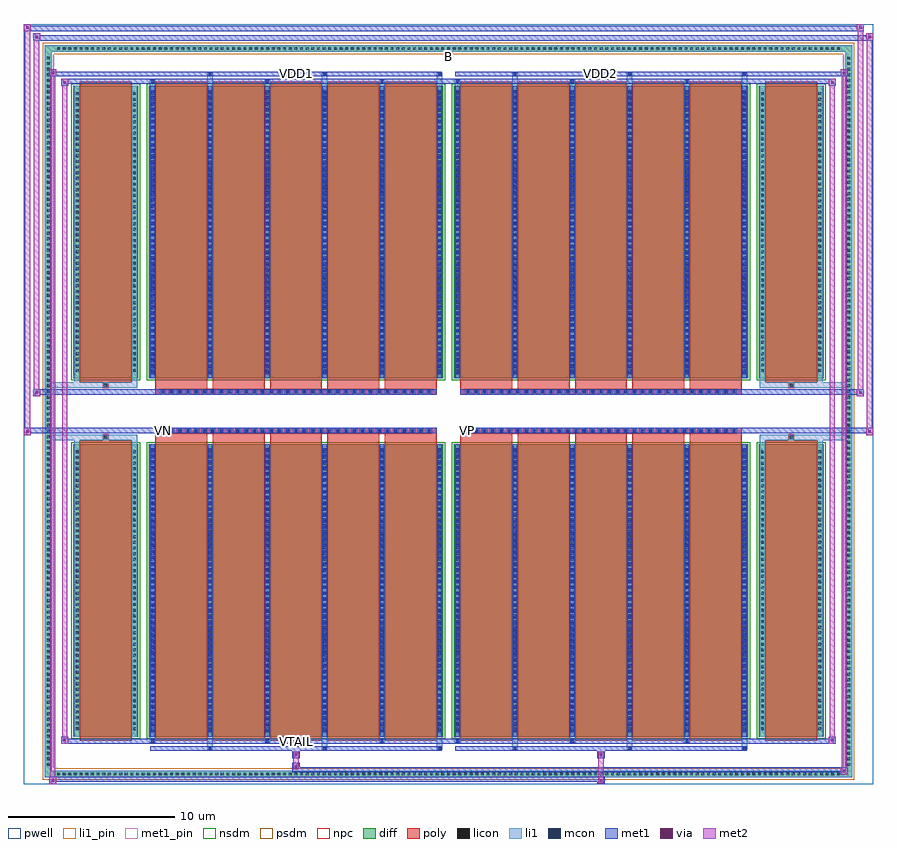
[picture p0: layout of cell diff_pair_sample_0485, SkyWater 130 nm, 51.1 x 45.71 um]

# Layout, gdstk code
import gdstk
lib = gdstk.Library(unit=1e-6, precision=5e-09)
def R(c, l, rs):  # rectangles x0, y0, x1, y1
    for r in rs: c.add(gdstk.rectangle(r[:2], r[2:], *l))
def A(c, l, x, y, w, h, nx, ny, dx, dy):  # array of equal rectangles
    R(c, l, [(x+i*dx, y+j*dy, x+i*dx+w, y+j*dy+h) for i in range(nx) for j in range(ny)])
def P(c, l, *ps):  # polygons
    for p in ps: c.add(gdstk.Polygon(p, *l))
pwell = (64, 44)
diff = (65, 20)
poly = (66, 20)
licon = (66, 44)
li1_pin = (67, 16)
li1 = (67, 20)
mcon = (67, 44)
met1_pin = (68, 16)
met1 = (68, 20)
via = (68, 44)
met2 = (69, 20)
nsdm = (93, 44)
psdm = (94, 20)
npc = (95, 20)

diff_pair_sample_0485 = lib.new_cell('diff_pair_sample_0485')
R(diff_pair_sample_0485, pwell, [(-25.55,-22.42,25.55,23.29), (-22.87,-20.61,-0.01,-0.805), (0.01,-20.61,22.87,-0.805), (-22.87,0.805,-0.01,20.61), (0.01,0.805,22.87,20.61)])
A(diff_pair_sample_0485, diff, -23.665, -22.02, 0.41, 0.41, 139, 2, 0.34, 43.63)
A(diff_pair_sample_0485, diff, -24.28, -21.455, 0.41, 0.41, 1, 126, 0, 0.34)
A(diff_pair_sample_0485, diff, 23.87, -21.455, 0.41, 0.41, 1, 126, 0, 0.34)
R(diff_pair_sample_0485, diff, [(-23.665,-22.02,23.665,-21.61), (-24.28,-21.455,-23.87,21.455), (23.87,-21.455,24.28,21.455), (-22.56,-19.565,-18.66,-1.985), (-18.02,-19.565,-0.32,-1.985), (0.32,-19.565,18.02,-1.985), (18.66,-19.565,22.56,-1.985), (-22.56,1.985,-18.66,19.565), (-18.02,1.985,-0.32,19.565), (0.32,1.985,18.02,19.565), (18.66,1.985,22.56,19.565), (-23.665,21.61,23.665,22.02)])
P(diff_pair_sample_0485, diff, [(24.28,22.02),(-24.28,22.02),(-24.28,-21.61),(-23.87,-21.61),(-23.87,21.61),(23.87,21.61),(23.87,-21.61),(-23.87,-21.61),(-24.28,-21.61),(-24.28,-22.02),(24.28,-22.02)])
A(diff_pair_sample_0485, poly, -17.63, -19.815, 3.12, 18.08, 5, 2, 3.45, 21.55)
A(diff_pair_sample_0485, poly, 0.71, -19.815, 3.12, 18.08, 5, 2, 3.45, 21.55)
A(diff_pair_sample_0485, poly, -17.63, -1.735, 3.12, 0.4, 5, 2, 3.45, 3.07)
A(diff_pair_sample_0485, poly, 0.71, -1.735, 3.12, 0.4, 5, 2, 3.45, 3.07)
A(diff_pair_sample_0485, poly, -17.335, -1.335, 0.33, 0.33, 33, 2, 0.5, 2.34)
A(diff_pair_sample_0485, poly, 1.005, -1.335, 0.33, 0.33, 33, 2, 0.5, 2.34)
R(diff_pair_sample_0485, poly, [(-22.17,-19.815,-19.05,-1.735), (19.05,-19.815,22.17,-1.735), (-20.775,-1.735,-20.445,-1.405), (-20.775,-1.735,-20.445,-1.405), (20.445,-1.735,20.775,-1.405), (20.445,-1.735,20.775,-1.405), (-17.63,-1.335,-0.71,-1.005), (0.71,-1.335,17.63,-1.005), (-17.63,1.005,-0.71,1.335), (0.71,1.005,17.63,1.335), (-20.775,1.405,-20.445,1.735), (-20.775,1.405,-20.445,1.735), (20.445,1.405,20.775,1.735), (20.445,1.405,20.775,1.735), (-22.17,1.735,-19.05,19.815), (19.05,1.735,22.17,19.815)])
A(diff_pair_sample_0485, licon, -23.545, -21.9, 0.17, 0.17, 139, 2, 0.34, 43.63)
A(diff_pair_sample_0485, licon, -24.16, -21.335, 0.17, 0.17, 1, 126, 0, 0.34)
A(diff_pair_sample_0485, licon, 23.99, -21.335, 0.17, 0.17, 1, 126, 0, 0.34)
A(diff_pair_sample_0485, licon, -22.42, -19.19, 0.17, 0.17, 1, 50, 0, 0.34)
A(diff_pair_sample_0485, licon, -18.97, -19.19, 0.17, 0.17, 1, 50, 0, 0.34)
A(diff_pair_sample_0485, licon, -17.88, -19.19, 0.17, 0.17, 6, 50, 3.45, 0.34)
A(diff_pair_sample_0485, licon, 0.46, -19.19, 0.17, 0.17, 6, 50, 3.45, 0.34)
A(diff_pair_sample_0485, licon, 18.8, -19.19, 0.17, 0.17, 1, 50, 0, 0.34)
A(diff_pair_sample_0485, licon, 22.25, -19.19, 0.17, 0.17, 1, 50, 0, 0.34)
A(diff_pair_sample_0485, licon, -17.255, -1.255, 0.17, 0.17, 33, 2, 0.5, 2.34)
A(diff_pair_sample_0485, licon, 1.085, -1.255, 0.17, 0.17, 33, 2, 0.5, 2.34)
A(diff_pair_sample_0485, licon, -22.42, 2.36, 0.17, 0.17, 1, 50, 0, 0.34)
A(diff_pair_sample_0485, licon, -18.97, 2.36, 0.17, 0.17, 1, 50, 0, 0.34)
A(diff_pair_sample_0485, licon, -17.88, 2.36, 0.17, 0.17, 6, 50, 3.45, 0.34)
A(diff_pair_sample_0485, licon, 0.46, 2.36, 0.17, 0.17, 6, 50, 3.45, 0.34)
A(diff_pair_sample_0485, licon, 18.8, 2.36, 0.17, 0.17, 1, 50, 0, 0.34)
A(diff_pair_sample_0485, licon, 22.25, 2.36, 0.17, 0.17, 1, 50, 0, 0.34)
R(diff_pair_sample_0485, licon, [(-20.695,-1.655,-20.525,-1.485), (20.525,-1.655,20.695,-1.485), (-20.695,1.485,-20.525,1.655), (20.525,1.485,20.695,1.655)])
R(diff_pair_sample_0485, li1_pin, [(-0.25,21.11,0.25,21.61)])
A(diff_pair_sample_0485, li1, -23.625, -21.98, 0.33, 0.33, 139, 2, 0.34, 43.63)
A(diff_pair_sample_0485, li1, -24.24, -21.415, 0.33, 0.33, 1, 126, 0, 0.34)
A(diff_pair_sample_0485, li1, 23.91, -21.415, 0.33, 0.33, 1, 126, 0, 0.34)
A(diff_pair_sample_0485, li1, -14.51, -20.37, 0.33, 0.805, 3, 2, 6.9, 39.935)
A(diff_pair_sample_0485, li1, -14.43, -20.37, 0.17, 0.17, 3, 2, 6.9, 40.57)
A(diff_pair_sample_0485, li1, 3.83, -20.37, 0.33, 0.805, 3, 2, 6.9, 39.935)
A(diff_pair_sample_0485, li1, 3.91, -20.37, 0.17, 0.17, 3, 2, 6.9, 40.57)
A(diff_pair_sample_0485, li1, -17.96, -19.94, 0.33, 0.375, 3, 2, 6.9, 39.505)
A(diff_pair_sample_0485, li1, -17.88, -19.94, 0.17, 0.17, 3, 2, 6.9, 39.71)
A(diff_pair_sample_0485, li1, 0.38, -19.94, 0.33, 0.375, 3, 2, 6.9, 39.505)
A(diff_pair_sample_0485, li1, 0.46, -19.94, 0.17, 0.17, 3, 2, 6.9, 39.71)
A(diff_pair_sample_0485, li1, -17.96, -19.565, 0.33, 17.58, 6, 2, 3.45, 21.55)
A(diff_pair_sample_0485, li1, 0.38, -19.565, 0.33, 17.58, 6, 2, 3.45, 21.55)
A(diff_pair_sample_0485, li1, -17.88, -19.32, 0.17, 0.17, 6, 48, 3.45, 0.36)
A(diff_pair_sample_0485, li1, -17.88, -19.32, 0.17, 17.09, 6, 2, 3.45, 21.55)
A(diff_pair_sample_0485, li1, 0.46, -19.32, 0.17, 0.17, 6, 48, 3.45, 0.36)
A(diff_pair_sample_0485, li1, 0.46, -19.32, 0.17, 17.09, 6, 2, 3.45, 21.55)
A(diff_pair_sample_0485, li1, -22.5, -19.27, 0.33, 0.33, 1, 50, 0, 0.34)
A(diff_pair_sample_0485, li1, -19.05, -19.27, 0.33, 0.33, 1, 50, 0, 0.34)
A(diff_pair_sample_0485, li1, -17.96, -19.27, 0.33, 0.33, 6, 50, 3.45, 0.34)
A(diff_pair_sample_0485, li1, 0.38, -19.27, 0.33, 0.33, 6, 50, 3.45, 0.34)
A(diff_pair_sample_0485, li1, 18.72, -19.27, 0.33, 0.33, 1, 50, 0, 0.34)
A(diff_pair_sample_0485, li1, 22.17, -19.27, 0.33, 0.33, 1, 50, 0, 0.34)
A(diff_pair_sample_0485, li1, -17.335, -1.335, 0.33, 0.33, 33, 2, 0.5, 2.34)
A(diff_pair_sample_0485, li1, 1.005, -1.335, 0.33, 0.33, 33, 2, 0.5, 2.34)
A(diff_pair_sample_0485, li1, -17.88, 2.23, 0.17, 0.17, 6, 48, 3.45, 0.36)
A(diff_pair_sample_0485, li1, 0.46, 2.23, 0.17, 0.17, 6, 48, 3.45, 0.36)
A(diff_pair_sample_0485, li1, -22.5, 2.28, 0.33, 0.33, 1, 50, 0, 0.34)
A(diff_pair_sample_0485, li1, -19.05, 2.28, 0.33, 0.33, 1, 50, 0, 0.34)
A(diff_pair_sample_0485, li1, -17.96, 2.28, 0.33, 0.33, 6, 50, 3.45, 0.34)
A(diff_pair_sample_0485, li1, 0.38, 2.28, 0.33, 0.33, 6, 50, 3.45, 0.34)
A(diff_pair_sample_0485, li1, 18.72, 2.28, 0.33, 0.33, 1, 50, 0, 0.34)
A(diff_pair_sample_0485, li1, 22.17, 2.28, 0.33, 0.33, 1, 50, 0, 0.34)
R(diff_pair_sample_0485, li1, [(-24.28,-22.02,-23.87,-21.61), (-24.28,-22.02,-23.87,-21.61), (-23.87,-22.02,23.87,-21.61), (23.87,-22.02,24.28,-21.61), (23.87,-22.02,24.28,-21.61), (-24.28,-21.61,-23.87,21.61), (23.87,-21.61,24.28,21.61), (-22.5,-19.565,-22.17,-1.985), (-19.05,-19.565,-18.72,-1.985), (18.72,-19.565,19.05,-1.985), (22.17,-19.565,22.5,-1.985), (-22.5,-1.985,-22.17,-1.405), (-19.05,-1.985,-18.72,-1.405), (18.72,-1.985,19.05,-1.405), (22.17,-1.985,22.5,-1.405), (-24.28,-1.735,-20.775,-1.405), (-22.5,-1.735,-20.775,-1.405), (-20.775,-1.735,-20.445,-1.405), (-20.445,-1.735,-18.72,-1.405), (18.72,-1.735,20.445,-1.405), (20.445,-1.735,20.775,-1.405), (20.445,-1.735,24.28,-1.405), (20.775,-1.735,22.5,-1.405), (-24.28,1.405,-20.775,1.735), (-22.5,1.405,-20.775,1.735), (-22.5,1.405,-22.17,1.985), (-20.775,1.405,-20.445,1.735), (-20.445,1.405,-18.72,1.735), (-19.05,1.405,-18.72,1.985), (18.72,1.405,20.445,1.735), (18.72,1.405,19.05,1.985), (20.445,1.405,20.775,1.735), (20.445,1.405,24.28,1.735), (20.775,1.405,22.5,1.735), (22.17,1.405,22.5,1.985), (-22.5,1.985,-22.17,19.565), (-19.05,1.985,-18.72,19.565), (18.72,1.985,19.05,19.565), (22.17,1.985,22.5,19.565), (-24.28,21.61,-23.87,22.02), (-24.28,21.61,-23.87,22.02), (-23.87,21.61,23.87,22.02), (23.87,21.61,24.28,22.02), (23.87,21.61,24.28,22.02)])
A(diff_pair_sample_0485, mcon, -14.43, -20.37, 0.17, 0.17, 3, 2, 6.9, 40.57)
A(diff_pair_sample_0485, mcon, 3.91, -20.37, 0.17, 0.17, 3, 2, 6.9, 40.57)
A(diff_pair_sample_0485, mcon, -17.88, -19.94, 0.17, 0.17, 3, 2, 6.9, 39.71)
A(diff_pair_sample_0485, mcon, 0.46, -19.94, 0.17, 0.17, 3, 2, 6.9, 39.71)
A(diff_pair_sample_0485, mcon, -17.88, -19.32, 0.17, 0.17, 6, 48, 3.45, 0.36)
A(diff_pair_sample_0485, mcon, 0.46, -19.32, 0.17, 0.17, 6, 48, 3.45, 0.36)
A(diff_pair_sample_0485, mcon, -17.255, -1.255, 0.17, 0.17, 33, 2, 0.5, 2.34)
A(diff_pair_sample_0485, mcon, 1.085, -1.255, 0.17, 0.17, 33, 2, 0.5, 2.34)
A(diff_pair_sample_0485, mcon, -17.88, 2.23, 0.17, 0.17, 6, 48, 3.45, 0.36)
A(diff_pair_sample_0485, mcon, 0.46, 2.23, 0.17, 0.17, 6, 48, 3.45, 0.36)
R(diff_pair_sample_0485, met1_pin, [(-9.305,-19.98,-9.035,-19.71), (-17.305,-1.295,-17.035,-1.025), (1.035,-1.295,1.305,-1.025), (-9.305,20.16,-9.035,20.43), (9.035,20.16,9.305,20.43)])
A(diff_pair_sample_0485, met1, -14.49, -20.43, 0.29, 0.29, 3, 2, 6.9, 40.57)
A(diff_pair_sample_0485, met1, 3.85, -20.43, 0.29, 0.29, 3, 2, 6.9, 40.57)
A(diff_pair_sample_0485, met1, -17.94, -20, 0.29, 0.29, 3, 2, 6.9, 39.71)
A(diff_pair_sample_0485, met1, 0.4, -20, 0.29, 0.29, 3, 2, 6.9, 39.71)
A(diff_pair_sample_0485, met1, -17.94, -19.565, 0.29, 17.58, 6, 2, 3.45, 21.55)
A(diff_pair_sample_0485, met1, 0.4, -19.565, 0.29, 17.58, 6, 2, 3.45, 21.55)
A(diff_pair_sample_0485, met1, -17.94, -19.38, 0.29, 0.29, 6, 48, 3.45, 0.36)
A(diff_pair_sample_0485, met1, 0.4, -19.38, 0.29, 0.29, 6, 48, 3.45, 0.36)
A(diff_pair_sample_0485, met1, -17.315, -1.315, 0.29, 0.29, 33, 2, 0.5, 2.34)
A(diff_pair_sample_0485, met1, 1.025, -1.315, 0.29, 0.29, 33, 2, 0.5, 2.34)
A(diff_pair_sample_0485, met1, -17.94, 2.17, 0.29, 0.29, 6, 48, 3.45, 0.36)
A(diff_pair_sample_0485, met1, 0.4, 2.17, 0.29, 0.29, 6, 48, 3.45, 0.36)
R(diff_pair_sample_0485, met1, [(-24.01,-22.42,-23.58,-21.99), (8.955,-22.42,9.385,-21.99), (-24.01,-22.28,9.385,-21.99), (23.58,-21.85,24.01,-21.42), (-9.385,-21.71,24.01,-21.42), (-9.385,-21.57,-8.955,-21.14), (-9.385,-20.86,-8.955,-20.43), (8.955,-20.86,9.385,-20.43), (-17.94,-20.43,-0.4,-20.14), (0.4,-20.43,17.94,-20.14), (-23.3,-20,-22.87,-19.57), (-23.3,-20,-17.94,-19.71), (-17.94,-20,-0.4,-19.71), (-0.4,-20,0.4,-19.71), (0.4,-20,17.94,-19.71), (17.94,-20,23.3,-19.71), (22.87,-20,23.3,-19.57), (-25.55,-1.435,-25.12,-1.005), (25.12,-1.435,25.55,-1.005), (-25.55,-1.335,-0.71,-1.005), (-17.63,-1.335,-0.71,-1.005), (0.71,-1.335,17.63,-1.005), (0.71,-1.335,25.55,-1.005), (-24.98,0.905,-24.55,1.335), (24.55,0.905,24.98,1.335), (-24.98,1.005,-17.63,1.335), (-17.63,1.005,-0.71,1.335), (0.71,1.005,17.63,1.335), (17.63,1.005,24.98,1.335), (-23.3,19.57,-22.87,20), (22.87,19.57,23.3,20), (-23.3,19.71,-17.94,20), (-17.94,19.71,-0.4,20), (-0.4,19.71,0.4,20), (0.4,19.71,17.94,20), (17.94,19.71,23.3,20), (-24.01,20.14,-23.58,20.57), (-24.01,20.14,-17.94,20.43), (-17.94,20.14,-0.4,20.43), (0.4,20.14,17.94,20.43), (17.94,20.14,24.01,20.43), (23.58,20.14,24.01,20.57), (-24.98,22.29,-24.55,22.72), (-24.98,22.29,-22.87,22.62), (-22.87,22.29,22.87,22.62), (22.87,22.29,25.55,22.62), (25.12,22.29,25.55,22.72), (-25.55,22.86,-25.12,23.29), (-25.55,22.86,-22.87,23.19), (-22.87,22.86,22.87,23.19), (22.87,22.86,24.98,23.19), (24.55,22.86,24.98,23.29)])
R(diff_pair_sample_0485, via, [(-23.87,-22.28,-23.72,-22.13), (9.095,-22.28,9.245,-22.13), (23.72,-21.71,23.87,-21.56), (-9.245,-21.43,-9.095,-21.28), (-9.245,-20.72,-9.095,-20.57), (9.095,-20.72,9.245,-20.57), (-23.16,-19.86,-23.01,-19.71), (23.01,-19.86,23.16,-19.71), (-25.41,-1.295,-25.26,-1.145), (25.26,-1.295,25.41,-1.145), (-24.84,1.045,-24.69,1.195), (24.69,1.045,24.84,1.195), (-23.16,19.71,-23.01,19.86), (23.01,19.71,23.16,19.86), (-23.87,20.28,-23.72,20.43), (23.72,20.28,23.87,20.43), (-24.84,22.43,-24.69,22.58), (25.26,22.43,25.41,22.58), (-25.41,23,-25.26,23.15), (24.69,23,24.84,23.15)])
R(diff_pair_sample_0485, met2, [(-24.01,-22.42,-23.58,-21.99), (-23.94,-22.42,-23.65,20.57), (-23.65,-22.42,-23.58,-21.99), (-23.96,-22.37,-23.63,-22.04), (9.005,-22.37,9.335,-22.04), (9.005,-22.04,9.335,-20.81), (23.58,-21.85,24.01,-21.42), (23.65,-21.85,23.94,20.57), (23.94,-21.85,24.01,-21.42), (23.63,-21.8,23.96,-21.47), (-9.335,-21.52,-9.005,-21.19), (-9.335,-21.19,-9.005,-20.81), (-9.335,-20.81,-9.005,-20.48), (9.005,-20.81,9.335,-20.48), (-23.3,-20,-22.87,-19.57), (-23.23,-20,-22.94,20), (-22.94,-20,-22.87,-19.57), (22.87,-20,23.3,-19.57), (22.94,-20,23.23,20), (23.23,-20,23.3,-19.57), (-23.25,-19.95,-22.92,-19.62), (22.92,-19.95,23.25,-19.62), (-25.55,-1.435,-25.12,-1.005), (-25.5,-1.435,-25.17,23.29), (-25.17,-1.435,-25.12,-1.005), (25.12,-1.435,25.55,-1.005), (25.17,-1.435,25.5,22.72), (25.5,-1.435,25.55,-1.005), (-25.5,-1.385,-25.17,-1.055), (25.17,-1.385,25.5,-1.055), (-24.98,0.905,-24.55,1.335), (-24.93,0.905,-24.6,22.72), (-24.6,0.905,-24.55,1.335), (24.55,0.905,24.98,1.335), (24.6,0.905,24.93,23.29), (24.93,0.905,24.98,1.335), (-24.93,0.955,-24.6,1.285), (24.6,0.955,24.93,1.285), (-23.3,19.57,-22.87,20), (-22.94,19.57,-22.87,20), (22.87,19.57,23.3,20), (23.23,19.57,23.3,20), (-23.25,19.62,-22.92,19.95), (22.92,19.62,23.25,19.95), (-24.01,20.14,-23.58,20.57), (-23.65,20.14,-23.58,20.57), (23.58,20.14,24.01,20.57), (23.94,20.14,24.01,20.57), (-23.96,20.19,-23.63,20.52), (23.63,20.19,23.96,20.52), (-24.98,22.29,-24.55,22.72), (-24.6,22.29,-24.55,22.72), (25.12,22.29,25.55,22.72), (25.5,22.29,25.55,22.72), (-24.93,22.34,-24.6,22.67), (25.17,22.34,25.5,22.67), (-25.55,22.86,-25.12,23.29), (-25.17,22.86,-25.12,23.29), (24.55,22.86,24.98,23.29), (24.93,22.86,24.98,23.29), (-25.5,22.91,-25.17,23.24), (24.6,22.91,24.93,23.24)])
R(diff_pair_sample_0485, nsdm, [(-22.69,-19.695,-18.53,-1.855), (-18.15,-19.695,-0.19,-1.855), (0.19,-19.695,18.15,-1.855), (18.53,-19.695,22.69,-1.855), (-22.69,1.855,-18.53,19.695), (-18.15,1.855,-0.19,19.695), (0.19,1.855,18.15,19.695), (18.53,1.855,22.69,19.695)])
P(diff_pair_sample_0485, psdm, [(24.41,22.15),(-24.41,22.15),(-24.41,-21.48),(-23.74,-21.48),(-23.74,21.48),(23.74,21.48),(23.74,-21.48),(-23.74,-21.48),(-24.41,-21.48),(-24.41,-22.15),(24.41,-22.15)])
A(diff_pair_sample_0485, npc, -17.355, -1.355, 0.37, 0.37, 33, 2, 0.5, 2.34)
A(diff_pair_sample_0485, npc, 0.985, -1.355, 0.37, 0.37, 33, 2, 0.5, 2.34)
R(diff_pair_sample_0485, npc, [(-20.795,-1.755,-20.425,-1.385), (20.425,-1.755,20.795,-1.385), (-17.355,-1.355,-16.485,-0.985), (-17.355,-1.355,-16.485,-0.985), (-16.855,-1.355,-15.985,-0.985), (-16.855,-1.355,-15.985,-0.985), (-16.355,-1.355,-15.485,-0.985), (-16.355,-1.355,-15.485,-0.985), (-15.855,-1.355,-14.985,-0.985), (-15.855,-1.355,-14.985,-0.985), (-15.355,-1.355,-14.485,-0.985), (-15.355,-1.355,-14.485,-0.985), (-14.855,-1.355,-13.985,-0.985), (-14.855,-1.355,-13.985,-0.985), (-14.355,-1.355,-13.485,-0.985), (-14.355,-1.355,-13.485,-0.985), (-13.855,-1.355,-12.985,-0.985), (-13.855,-1.355,-12.985,-0.985), (-13.355,-1.355,-12.485,-0.985), (-13.355,-1.355,-12.485,-0.985), (-12.855,-1.355,-11.985,-0.985), (-12.855,-1.355,-11.985,-0.985), (-12.355,-1.355,-11.485,-0.985), (-12.355,-1.355,-11.485,-0.985), (-11.855,-1.355,-10.985,-0.985), (-11.855,-1.355,-10.985,-0.985), (-11.355,-1.355,-10.485,-0.985), (-11.355,-1.355,-10.485,-0.985), (-10.855,-1.355,-9.985,-0.985), (-10.855,-1.355,-9.985,-0.985), (-10.355,-1.355,-9.485,-0.985), (-10.355,-1.355,-9.485,-0.985), (-9.855,-1.355,-8.985,-0.985), (-9.855,-1.355,-8.985,-0.985), (-9.355,-1.355,-8.485,-0.985), (-9.355,-1.355,-8.485,-0.985), (-8.855,-1.355,-7.985,-0.985), (-8.855,-1.355,-7.985,-0.985), (-8.355,-1.355,-7.485,-0.985), (-8.355,-1.355,-7.485,-0.985), (-7.855,-1.355,-6.985,-0.985), (-7.855,-1.355,-6.985,-0.985), (-7.355,-1.355,-6.485,-0.985), (-7.355,-1.355,-6.485,-0.985), (-6.855,-1.355,-5.985,-0.985), (-6.855,-1.355,-5.985,-0.985), (-6.355,-1.355,-5.485,-0.985), (-6.355,-1.355,-5.485,-0.985), (-5.855,-1.355,-4.985,-0.985), (-5.855,-1.355,-4.985,-0.985), (-5.355,-1.355,-4.485,-0.985), (-5.355,-1.355,-4.485,-0.985), (-4.855,-1.355,-3.985,-0.985), (-4.855,-1.355,-3.985,-0.985), (-4.355,-1.355,-3.485,-0.985), (-4.355,-1.355,-3.485,-0.985), (-3.855,-1.355,-2.985,-0.985), (-3.855,-1.355,-2.985,-0.985), (-3.355,-1.355,-2.485,-0.985), (-3.355,-1.355,-2.485,-0.985), (-2.855,-1.355,-1.985,-0.985), (-2.855,-1.355,-1.985,-0.985), (-2.355,-1.355,-1.485,-0.985), (-2.355,-1.355,-1.485,-0.985), (-1.855,-1.355,-0.985,-0.985), (-1.855,-1.355,-0.985,-0.985), (0.985,-1.355,1.855,-0.985), (0.985,-1.355,1.855,-0.985), (1.485,-1.355,2.355,-0.985), (1.485,-1.355,2.355,-0.985), (1.985,-1.355,2.855,-0.985), (1.985,-1.355,2.855,-0.985), (2.485,-1.355,3.355,-0.985), (2.485,-1.355,3.355,-0.985), (2.985,-1.355,3.855,-0.985), (2.985,-1.355,3.855,-0.985), (3.485,-1.355,4.355,-0.985), (3.485,-1.355,4.355,-0.985), (3.985,-1.355,4.855,-0.985), (3.985,-1.355,4.855,-0.985), (4.485,-1.355,5.355,-0.985), (4.485,-1.355,5.355,-0.985), (4.985,-1.355,5.855,-0.985), (4.985,-1.355,5.855,-0.985), (5.485,-1.355,6.355,-0.985), (5.485,-1.355,6.355,-0.985), (5.985,-1.355,6.855,-0.985), (5.985,-1.355,6.855,-0.985), (6.485,-1.355,7.355,-0.985), (6.485,-1.355,7.355,-0.985), (6.985,-1.355,7.855,-0.985), (6.985,-1.355,7.855,-0.985), (7.485,-1.355,8.355,-0.985), (7.485,-1.355,8.355,-0.985), (7.985,-1.355,8.855,-0.985), (7.985,-1.355,8.855,-0.985), (8.485,-1.355,9.355,-0.985), (8.485,-1.355,9.355,-0.985), (8.985,-1.355,9.855,-0.985), (8.985,-1.355,9.855,-0.985), (9.485,-1.355,10.355,-0.985), (9.485,-1.355,10.355,-0.985), (9.985,-1.355,10.855,-0.985), (9.985,-1.355,10.855,-0.985), (10.485,-1.355,11.355,-0.985), (10.485,-1.355,11.355,-0.985), (10.985,-1.355,11.855,-0.985), (10.985,-1.355,11.855,-0.985), (11.485,-1.355,12.355,-0.985), (11.485,-1.355,12.355,-0.985), (11.985,-1.355,12.855,-0.985), (11.985,-1.355,12.855,-0.985), (12.485,-1.355,13.355,-0.985), (12.485,-1.355,13.355,-0.985), (12.985,-1.355,13.855,-0.985), (12.985,-1.355,13.855,-0.985), (13.485,-1.355,14.355,-0.985), (13.485,-1.355,14.355,-0.985), (13.985,-1.355,14.855,-0.985), (13.985,-1.355,14.855,-0.985), (14.485,-1.355,15.355,-0.985), (14.485,-1.355,15.355,-0.985), (14.985,-1.355,15.855,-0.985), (14.985,-1.355,15.855,-0.985), (15.485,-1.355,16.355,-0.985), (15.485,-1.355,16.355,-0.985), (15.985,-1.355,16.855,-0.985), (15.985,-1.355,16.855,-0.985), (16.485,-1.355,17.355,-0.985), (16.485,-1.355,17.355,-0.985), (-17.355,0.985,-16.485,1.355), (-17.355,0.985,-16.485,1.355), (-16.855,0.985,-15.985,1.355), (-16.855,0.985,-15.985,1.355), (-16.355,0.985,-15.485,1.355), (-16.355,0.985,-15.485,1.355), (-15.855,0.985,-14.985,1.355), (-15.855,0.985,-14.985,1.355), (-15.355,0.985,-14.485,1.355), (-15.355,0.985,-14.485,1.355), (-14.855,0.985,-13.985,1.355), (-14.855,0.985,-13.985,1.355), (-14.355,0.985,-13.485,1.355), (-14.355,0.985,-13.485,1.355), (-13.855,0.985,-12.985,1.355), (-13.855,0.985,-12.985,1.355), (-13.355,0.985,-12.485,1.355), (-13.355,0.985,-12.485,1.355), (-12.855,0.985,-11.985,1.355), (-12.855,0.985,-11.985,1.355), (-12.355,0.985,-11.485,1.355), (-12.355,0.985,-11.485,1.355), (-11.855,0.985,-10.985,1.355), (-11.855,0.985,-10.985,1.355), (-11.355,0.985,-10.485,1.355), (-11.355,0.985,-10.485,1.355), (-10.855,0.985,-9.985,1.355), (-10.855,0.985,-9.985,1.355), (-10.355,0.985,-9.485,1.355), (-10.355,0.985,-9.485,1.355), (-9.855,0.985,-8.985,1.355), (-9.855,0.985,-8.985,1.355), (-9.355,0.985,-8.485,1.355), (-9.355,0.985,-8.485,1.355), (-8.855,0.985,-7.985,1.355), (-8.855,0.985,-7.985,1.355), (-8.355,0.985,-7.485,1.355), (-8.355,0.985,-7.485,1.355), (-7.855,0.985,-6.985,1.355), (-7.855,0.985,-6.985,1.355), (-7.355,0.985,-6.485,1.355), (-7.355,0.985,-6.485,1.355), (-6.855,0.985,-5.985,1.355), (-6.855,0.985,-5.985,1.355), (-6.355,0.985,-5.485,1.355), (-6.355,0.985,-5.485,1.355), (-5.855,0.985,-4.985,1.355), (-5.855,0.985,-4.985,1.355), (-5.355,0.985,-4.485,1.355), (-5.355,0.985,-4.485,1.355), (-4.855,0.985,-3.985,1.355), (-4.855,0.985,-3.985,1.355), (-4.355,0.985,-3.485,1.355), (-4.355,0.985,-3.485,1.355), (-3.855,0.985,-2.985,1.355), (-3.855,0.985,-2.985,1.355), (-3.355,0.985,-2.485,1.355), (-3.355,0.985,-2.485,1.355), (-2.855,0.985,-1.985,1.355), (-2.855,0.985,-1.985,1.355), (-2.355,0.985,-1.485,1.355), (-2.355,0.985,-1.485,1.355), (-1.855,0.985,-0.985,1.355), (-1.855,0.985,-0.985,1.355), (0.985,0.985,1.855,1.355), (0.985,0.985,1.855,1.355), (1.485,0.985,2.355,1.355), (1.485,0.985,2.355,1.355), (1.985,0.985,2.855,1.355), (1.985,0.985,2.855,1.355), (2.485,0.985,3.355,1.355), (2.485,0.985,3.355,1.355), (2.985,0.985,3.855,1.355), (2.985,0.985,3.855,1.355), (3.485,0.985,4.355,1.355), (3.485,0.985,4.355,1.355), (3.985,0.985,4.855,1.355), (3.985,0.985,4.855,1.355), (4.485,0.985,5.355,1.355), (4.485,0.985,5.355,1.355), (4.985,0.985,5.855,1.355), (4.985,0.985,5.855,1.355), (5.485,0.985,6.355,1.355), (5.485,0.985,6.355,1.355), (5.985,0.985,6.855,1.355), (5.985,0.985,6.855,1.355), (6.485,0.985,7.355,1.355), (6.485,0.985,7.355,1.355), (6.985,0.985,7.855,1.355), (6.985,0.985,7.855,1.355), (7.485,0.985,8.355,1.355), (7.485,0.985,8.355,1.355), (7.985,0.985,8.855,1.355), (7.985,0.985,8.855,1.355), (8.485,0.985,9.355,1.355), (8.485,0.985,9.355,1.355), (8.985,0.985,9.855,1.355), (8.985,0.985,9.855,1.355), (9.485,0.985,10.355,1.355), (9.485,0.985,10.355,1.355), (9.985,0.985,10.855,1.355), (9.985,0.985,10.855,1.355), (10.485,0.985,11.355,1.355), (10.485,0.985,11.355,1.355), (10.985,0.985,11.855,1.355), (10.985,0.985,11.855,1.355), (11.485,0.985,12.355,1.355), (11.485,0.985,12.355,1.355), (11.985,0.985,12.855,1.355), (11.985,0.985,12.855,1.355), (12.485,0.985,13.355,1.355), (12.485,0.985,13.355,1.355), (12.985,0.985,13.855,1.355), (12.985,0.985,13.855,1.355), (13.485,0.985,14.355,1.355), (13.485,0.985,14.355,1.355), (13.985,0.985,14.855,1.355), (13.985,0.985,14.855,1.355), (14.485,0.985,15.355,1.355), (14.485,0.985,15.355,1.355), (14.985,0.985,15.855,1.355), (14.985,0.985,15.855,1.355), (15.485,0.985,16.355,1.355), (15.485,0.985,16.355,1.355), (15.985,0.985,16.855,1.355), (15.985,0.985,16.855,1.355), (16.485,0.985,17.355,1.355), (16.485,0.985,17.355,1.355), (-20.795,1.385,-20.425,1.755), (20.425,1.385,20.795,1.755)])
diff_pair_sample_0485.add(gdstk.Label('VTAIL', (-9.17,-19.845), layer=68, texttype=5))
diff_pair_sample_0485.add(gdstk.Label('VN', (-17.17,-1.16), layer=68, texttype=5))
diff_pair_sample_0485.add(gdstk.Label('VP', (1.17,-1.16), layer=68, texttype=5))
diff_pair_sample_0485.add(gdstk.Label('B', (0,21.36), layer=67, texttype=5))
diff_pair_sample_0485.add(gdstk.Label('VDD2', (9.17,20.295), layer=68, texttype=5))
diff_pair_sample_0485.add(gdstk.Label('VDD1', (-9.17,20.295), layer=68, texttype=5))

lib.write_gds('diff_pair_sample_0485.gds')
